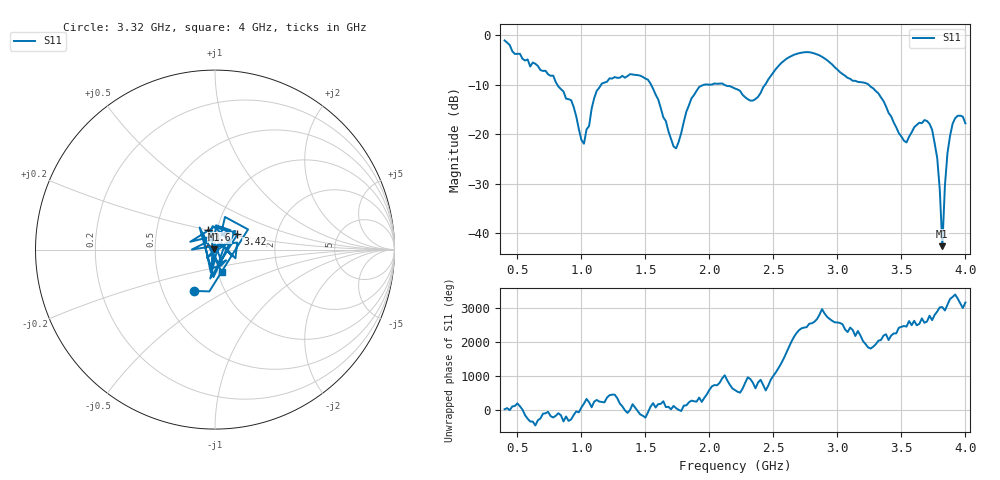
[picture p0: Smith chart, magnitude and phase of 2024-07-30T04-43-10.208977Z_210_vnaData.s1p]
!Created with skrf (http://scikit-rf.org).
# Hz S RI R 50.0
!freq ReS11 ImS11
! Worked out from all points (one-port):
!   181 points, 400 MHz to 4 GHz, reference 50 ohm
!   lowest |S11| = -42.6 dB at 3.82 GHz (marker M1), VSWR 1.01, Z = 49.4 + j0.341 ohm
!   |S11| at or under -10 dB: 810.9 MHz to 1.155 GHz (343.9 MHz wide, 35 % of centre); 1.544 GHz to 1.967 GHz (423.3 MHz wide, 24.1 % of centre); 3.243 GHz to end of sweep (the widest 3 of 5)
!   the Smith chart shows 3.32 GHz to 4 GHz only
!   S11 on the Smith chart (normalised r, x): 3.32 GHz: 0.72, -0.35; 3.42 GHz: 1.26, +0.22; 3.6 GHz: 0.90, +0.20; 4 GHz: 1.04, -0.26
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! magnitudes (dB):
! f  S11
! 400 MHz  -1.1
! 860 MHz  -11.4
! 920 MHz  -13.2
! 1.02 GHz  -21.9
! 1.12 GHz  -11.3
! 1.3 GHz  -8.6
! 1.52 GHz  -9.0
! 1.72 GHz  -22.5
! 1.76 GHz  -21.6
! 1.92 GHz  -10.5
! 2.2 GHz  -10.8
! 2.34 GHz  -13.2
! 2.66 GHz  -4.0
! 2.86 GHz  -4.1
! 3.1 GHz  -8.8
! 3.32 GHz  -11.8
! 3.42 GHz  -16.4
! 3.52 GHz  -21.3
! 3.56 GHz  -20.5
! 3.6 GHz  -18.6
! 3.74 GHz  -19.1
! 3.78 GHz  -24.9
! 3.8 GHz  -31.3
! 3.82 GHz  -42.6
! 3.84 GHz  -30.4
! 3.88 GHz  -20.4
! 3.94 GHz  -16.3
! 4 GHz  -17.8
